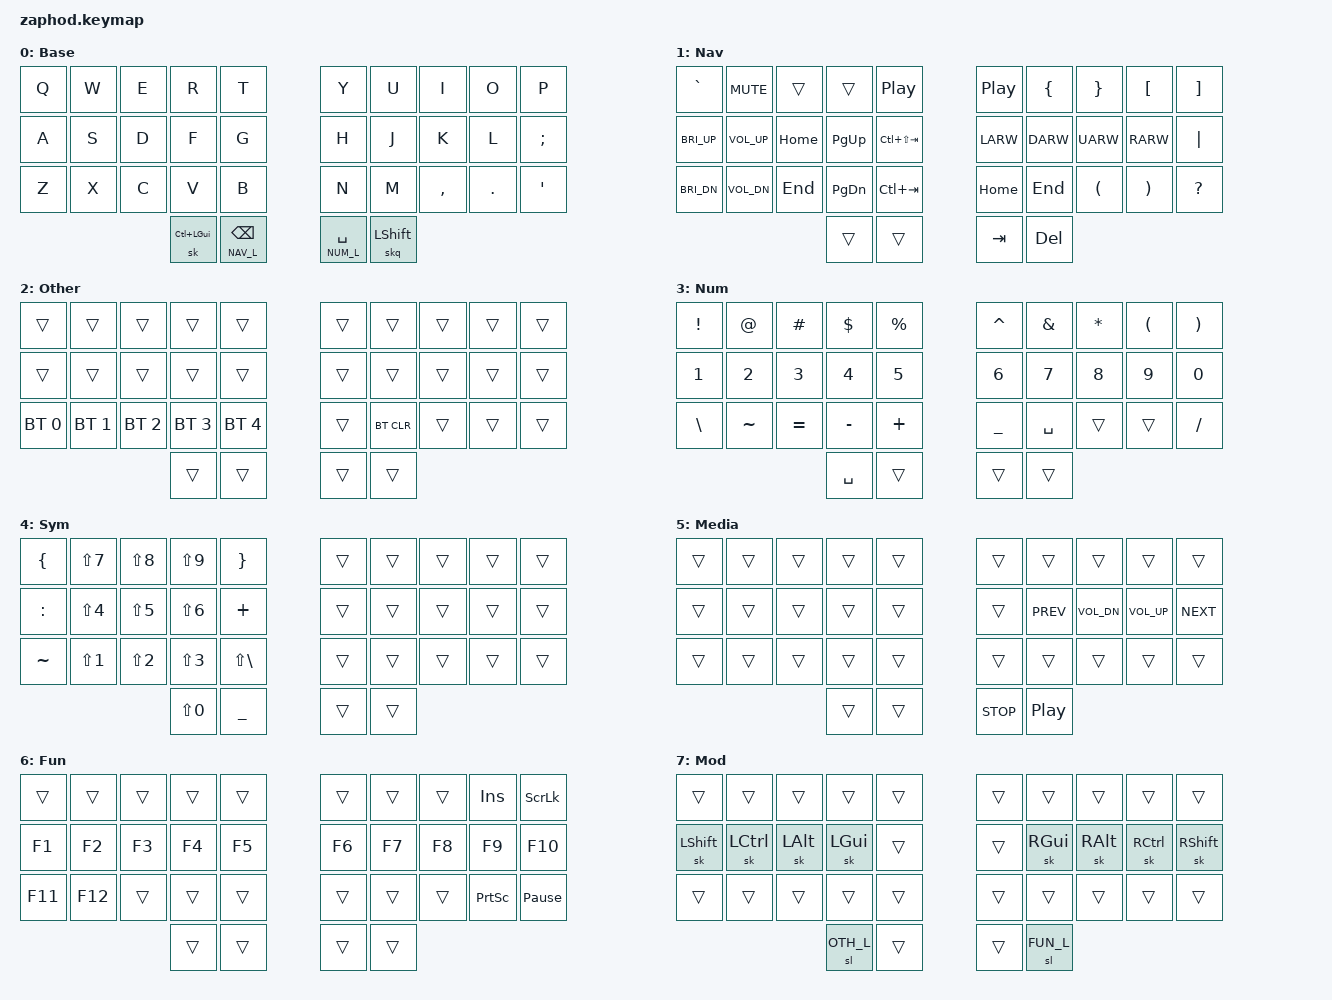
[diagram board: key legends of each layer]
/*
 * Copyright (c) 2021 Pete Johanson
 *
 * SPDX-License-Identifier: MIT
 */

#include <behaviors.dtsi>
#include <dt-bindings/zmk/keys.h>
#include <dt-bindings/zmk/bt.h>
#include <dt-bindings/zmk/outputs.h>

#define NAV_L 1
#define OTH_L 2
#define NUM_L 3
#define SYM_L 4
#define MED_L 5
#define FUN_L 6
#define MOD_L 7

// Using layer taps on thumbs, having quick tap as well helps w/ repeating space/backspace
//&lt { quick_tap_ms = <200>; };
// This makes interspersing numbers and spaces difficult, so trying without for now.

/ {
    combos {
        compatible = "zmk,combos";

        med_mo {
	    timeout-ms = <50>;
            key-positions = <30 31>;
            bindings = <&mo OTH_L>;
        };

        fn_mo {
	    timeout-ms = <50>;
            key-positions = <32 33>;
            bindings = <&mo FUN_L>;
        };

        caps {
	    timeout-ms = <10>;
            key-positions = <30 33>;
            bindings = <&kp CAPS>;
        };

        escape {
	    timeout-ms = <50>;
            key-positions = <11 13>;
            bindings = <&kp ESC>;
        };

        enter {
	    timeout-ms = <50>;
            key-positions = <16 18>;
            bindings = <&kp RET>;
        };

        lshft {
            timeout-ms = <50>;
            key-positions = <10 31>;
            bindings = <&skq LSHFT>;
        };

        lctrl {
            timeout-ms = <50>;
            key-positions = <11 31>;
            bindings = <&sk LCTRL>;
        };

        lalt {
            timeout-ms = <50>;
            key-positions = <12 31>;
            bindings = <&sk LALT>;
        };

        lgui {
            timeout-ms = <50>;
            key-positions = <13 31>;
            bindings = <&sk LGUI>;
        };

        rshft {
            timeout-ms = <50>;
            key-positions = <19 32>;
            bindings = <&skq RSHFT>;
        };

        rctrl {
            timeout-ms = <50>;
            key-positions = <18 32>;
            bindings = <&sk RCTRL>;
        };

        ralt {
            timeout-ms = <50>;
            key-positions = <17 32>;
            bindings = <&sk RALT>;
        };

        rgui {
            timeout-ms = <50>;
            key-positions = <16 32>;
            bindings = <&sk RGUI>;
        };
    };

    behaviors {
        hm: homerow_mods {
            compatible = "zmk,behavior-hold-tap";
            label = "homerow mods";
            #binding-cells = <2>;
            tapping_term_ms = <200>;
            flavor = "balanced";
            bindings = <&kp>, <&kp>;
        };

        skq: sticky_key_quick_release {
            compatible = "zmk,behavior-sticky-key";
            label = "STICKY_KEY_QUICK_RELEASE";
            #binding-cells = <1>;
            bindings = <&kp>;
            release-after-ms = <1000>;
            quick-release;
        };

        hs: hold_tap_sticky {
            compatible = "zmk,behavior-hold-tap";
            label = "hold tap sticky";
            #binding-cells = <2>;
            tapping_term_ms = <200>;
            flavor = "balanced";
            bindings = <&kp>, <&sl>;
        };
    };

    keymap {
        compatible = "zmk,keymap";

        default_layer {
            label = "Base";
            bindings = <
                &kp Q        &kp W      &kp E       &kp R              &kp T          &kp Y            &kp U          &kp I            &kp O        &kp P
                &kp A        &kp S      &kp D       &kp F              &kp G          &kp H            &kp J          &kp K            &kp L        &kp SEMI
                &kp Z        &kp X      &kp C       &kp V              &kp B          &kp N            &kp M          &kp COMMA        &kp DOT      &kp QUOT
                                                    &sk LC(LGUI)       &lt NAV_L BKSP &lt NUM_L SPACE  &skq LSHFT
            >;
        };

        nav_layer {
            label = "Nav";
            bindings = <
                &kp GRAVE          &kp C_MUTE        &trans        &trans          &kp C_PLAY_PAUSE &kp C_PLAY_PAUSE &kp LBRC       &kp RBRC      &kp LBKT      &kp RBKT
                &kp C_BRI_UP       &kp C_VOL_UP      &kp HOME      &kp PG_UP       &kp LC(LS(TAB))  &kp LARW         &kp DARW       &kp UARW      &kp RARW      &kp PIPE
                &kp C_BRI_DN       &kp C_VOL_DN      &kp END       &kp PG_DN       &kp LC(TAB)      &kp HOME         &kp END        &kp LPAR      &kp RPAR      &kp QMARK
                                                                   &trans          &trans           &kp TAB          &kp DEL
            >;
        };

        other_layer {
            label = "Other";
            bindings = <
                &trans	     &trans       &trans       &trans          &trans       &trans           &trans         &trans       &trans       &trans
                &trans       &trans       &trans       &trans          &trans       &trans           &trans         &trans       &trans       &trans
                &bt BT_SEL 0 &bt BT_SEL 1 &bt BT_SEL 2 &bt BT_SEL 3    &bt BT_SEL 4 &trans           &bt BT_CLR     &trans       &trans       &trans
                                                       &trans          &trans       &trans           &trans
            >;
        };

        num_layer {
            label = "Num";
            bindings = <
                &kp EXCL   &kp AT         &kp HASH       &kp DLLR        &kp PRCNT     &kp CARET       &kp AMPS        &kp STAR    &kp LPAR   &kp RPAR
                &kp N1     &kp N2         &kp N3         &kp N4          &kp N5        &kp N6          &kp N7          &kp N8      &kp N9     &kp N0
                &kp BSLH   &kp TILDE      &kp EQUAL      &kp MINUS       &kp PLUS      &kp UNDER       &kp SPACE       &trans      &trans     &kp SLASH
                                                         &kp SPACE       &trans        &trans          &trans
            >;
        };

        sym_layer {
            label = "Sym";
            bindings = <
                &kp LBRC     &kp LS(N7)  &kp LS(N8)  &kp LS(N9) &kp RBRC        &trans &trans   &trans    &trans    &trans
                &kp COLON    &kp LS(N4)  &kp LS(N5)  &kp LS(N6) &kp PLUS        &trans &trans   &trans    &trans    &trans
                &kp TILDE    &kp LS(N1)  &kp LS(N2)  &kp LS(N3) &kp LS(BSLH)    &trans &trans   &trans    &trans    &trans
                                                     &kp LS(N0) &kp UNDER       &trans &trans
            >;
        };

        media_layer {
            label = "Media";
            bindings = <
                &trans	   &trans     &trans      &trans          &trans       &trans           &trans         &trans       &trans       &trans
                &trans     &trans     &trans      &trans          &trans       &trans           &kp C_PREV     &kp C_VOL_DN &kp C_VOL_UP &kp C_NEXT
                &trans     &trans     &trans      &trans          &trans       &trans           &trans         &trans       &trans       &trans
                                                  &trans          &trans       &kp C_STOP       &kp C_PLAY_PAUSE
            >;
        };

        fun_layer {
            label = "Fun";
            bindings = <
                &trans       &trans       &trans      &trans     &trans            &trans          &trans         &trans      &kp INS        &kp SLCK
                &kp F1       &kp F2       &kp F3      &kp F4     &kp F5            &kp F6          &kp F7         &kp F8      &kp F9         &kp F10
                &kp F11      &kp F12      &trans      &trans     &trans            &trans          &trans         &trans      &kp PSCRN      &kp PAUSE_BREAK
                                                      &trans     &trans            &trans          &trans
            >;
        };

        mod_layer {
            label = "Mod";
            bindings = <
                &trans	   &trans     &trans      &trans          &trans       &trans           &trans         &trans       &trans       &trans
                &sk  LSHFT &sk  LCTRL &sk  LALT   &sk  LGUI       &trans       &trans           &sk  RGUI      &sk  RALT    &sk  RCTRL   &sk  RSHFT
                &trans     &trans     &trans      &trans          &trans       &trans           &trans         &trans       &trans       &trans
                                                  &sl OTH_L       &trans       &trans           &sl FUN_L
            >;
        };
    };
};

